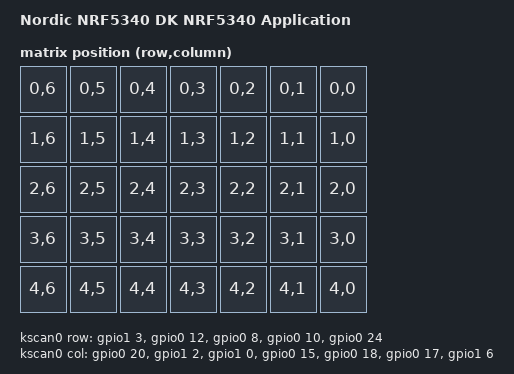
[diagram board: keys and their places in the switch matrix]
/*
 * Copyright (c) 2020 Nordic Semiconductor ASA
 *
 * SPDX-License-Identifier: Apache-2.0
 */

/dts-v1/;
#include <dt-bindings/zmk/matrix_transform.h>
#include <nordic/nrf5340_cpuapp_qkaa.dtsi>
#include "nrf5340_cpuapp_common.dts"
//#include "arduino_pro_micro_pins.dtsi"

/ {
	model = "Nordic NRF5340 DK NRF5340 Application";
	compatible = "nordic,nrf5340-dk-nrf5340-cpuapp";

	chosen {
		zephyr,sram = &sram0_image;
		zephyr,flash = &flash0;
		zephyr,code-partition = &slot0_partition;
		zephyr,sram-secure-partition = &sram0_s;
		zephyr,sram-non-secure-partition = &sram0_ns;
		zmk,kscan = &kscan0;
		zmk,matrix_transform = &default_transform;
	};



    default_transform: keymap_transform_0 {
        compatible = "zmk,matrix-transform";
        columns = <7>;
        rows = <5>;
//        map = <
//            RC(0,0) RC(0,1) RC(0,2) RC(0,3) RC(0,4) RC(0,5) RC(0,6)
//            RC(1,0) RC(1,1) RC(1,2) RC(1,3) RC(1,4) RC(1,5) RC(1,6)
//            RC(2,0) RC(2,1) RC(2,2) RC(2,3) RC(2,4) RC(2,5) RC(2,6)
//            RC(3,0) RC(3,1) RC(3,2) RC(3,3) RC(3,4) RC(3,5) RC(3,6)
//            RC(4,0) RC(4,1) RC(4,2) RC(4,3) RC(4,4) RC(4,5) RC(4,6)
//        >;
        map = <
             RC(0,6) RC(0,5) RC(0,4) RC(0,3) RC(0,2) RC(0,1) RC(0,0) 
             RC(1,6) RC(1,5) RC(1,4) RC(1,3) RC(1,2) RC(1,1) RC(1,0) 
             RC(2,6) RC(2,5) RC(2,4) RC(2,3) RC(2,2) RC(2,1) RC(2,0) 
             RC(3,6) RC(3,5) RC(3,4) RC(3,3) RC(3,2) RC(3,1) RC(3,0) 
             RC(4,6) RC(4,5) RC(4,4) RC(4,3) RC(4,2) RC(4,1) RC(4,0) 
        >;

    };
    
    kscan0: kscan {
        compatible = "zmk,kscan-gpio-matrix";
        label = "KSCAN";
    
        diode-direction = "col2row";
        row-gpios
            = <&gpio1 3  (GPIO_ACTIVE_HIGH | GPIO_PULL_DOWN)>
            , <&gpio0 12 (GPIO_ACTIVE_HIGH | GPIO_PULL_DOWN)>
            , <&gpio0 8  (GPIO_ACTIVE_HIGH | GPIO_PULL_DOWN)>
            , <&gpio0 10 (GPIO_ACTIVE_HIGH | GPIO_PULL_DOWN)>
            , <&gpio0 24 (GPIO_ACTIVE_HIGH | GPIO_PULL_DOWN)>
            ;
        col-gpios
            = <&gpio0 20 GPIO_ACTIVE_HIGH>
            , <&gpio1 2  GPIO_ACTIVE_HIGH>
            , <&gpio1 0  GPIO_ACTIVE_HIGH>
            , <&gpio0 15 GPIO_ACTIVE_HIGH>
            , <&gpio0 18 GPIO_ACTIVE_HIGH>
            , <&gpio0 17 GPIO_ACTIVE_HIGH>
            , <&gpio1 6  GPIO_ACTIVE_HIGH>
            ;
    };
};

&usbd {
	compatible = "nordic,nrf-usbd";
	status = "okay";
};
